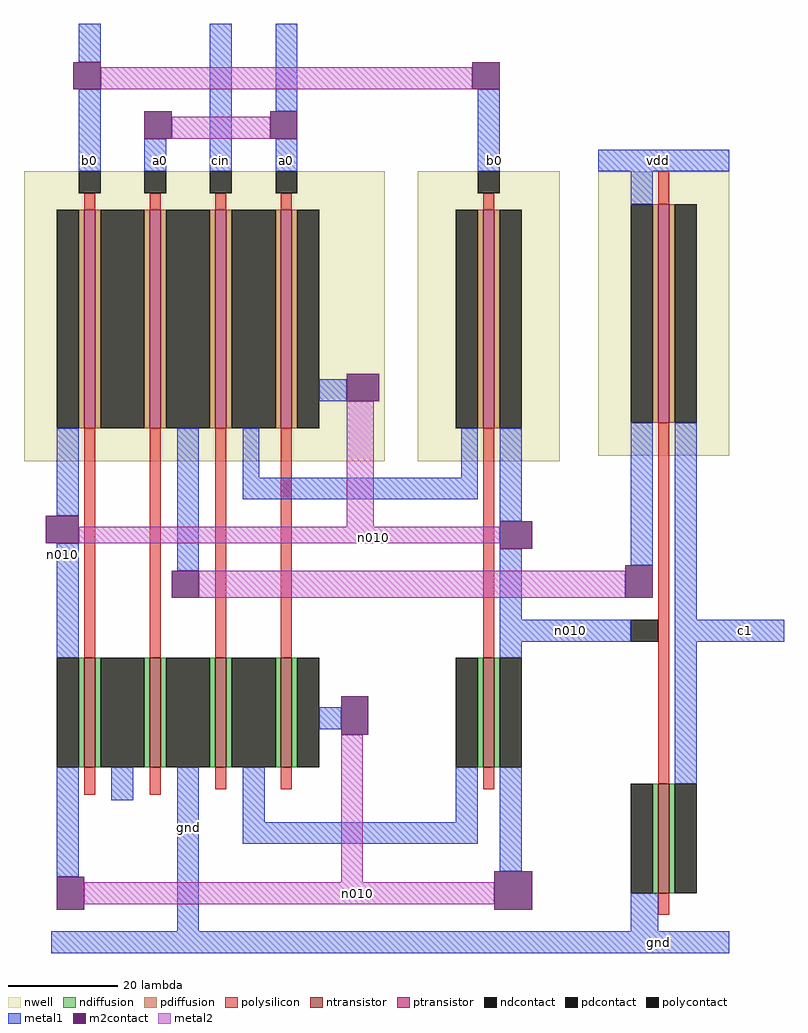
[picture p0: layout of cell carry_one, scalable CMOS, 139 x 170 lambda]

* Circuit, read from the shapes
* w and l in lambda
.subckt carry_one a0 b0 c1 cin gnd n010 vdd
M1 n1 b0 n010 VSUBS nfet w=20 l=2
M2 gnd a0 n1 VSUBS nfet w=20 l=2
M3 n2 cin gnd VSUBS nfet w=20 l=2
M4 n010 a0 n2 VSUBS nfet w=20 l=2
M5 n010 b0 n2 VSUBS nfet w=20 l=2
M6 c1 n010 gnd VSUBS nfet w=20 l=2
M7 n3 b0 n010 n4 pfet w=40 l=2
M8 vdd a0 n3 n4 pfet w=40 l=2
M9 n5 cin vdd n4 pfet w=40 l=2
M10 n010 a0 n5 n4 pfet w=40 l=2
M11 n010 b0 n5 n6 pfet w=40 l=2
M12 c1 n010 vdd n7 pfet w=40 l=2
.ends

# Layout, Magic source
magic
tech scmos
<< nwell >>
rect 0 -1 66 52
rect 72 -1 98 52
rect 105 0 129 52
<< ntransistor >>
rect 11 -57 13 -37
rect 23 -57 25 -37
rect 35 -57 37 -37
rect 47 -57 49 -37
rect 84 -57 86 -37
rect 116 -80 118 -60
<< ptransistor >>
rect 11 5 13 45
rect 23 5 25 45
rect 35 5 37 45
rect 47 5 49 45
rect 84 5 86 45
rect 116 6 118 46
<< ndiffusion >>
rect 10 -57 11 -37
rect 13 -57 14 -37
rect 22 -57 23 -37
rect 25 -57 26 -37
rect 34 -57 35 -37
rect 37 -57 38 -37
rect 46 -57 47 -37
rect 49 -57 50 -37
rect 83 -57 84 -37
rect 86 -57 87 -37
rect 115 -80 116 -60
rect 118 -80 119 -60
<< pdiffusion >>
rect 10 5 11 45
rect 13 5 14 45
rect 22 5 23 45
rect 25 5 26 45
rect 34 5 35 45
rect 37 5 38 45
rect 46 5 47 45
rect 49 5 50 45
rect 83 5 84 45
rect 86 5 87 45
rect 115 6 116 46
rect 118 6 119 46
<< ndcontact >>
rect 6 -57 10 -37
rect 14 -57 22 -37
rect 26 -57 34 -37
rect 38 -57 46 -37
rect 50 -57 54 -37
rect 79 -57 83 -37
rect 87 -57 91 -37
rect 111 -80 115 -60
rect 119 -80 123 -60
<< pdcontact >>
rect 6 5 10 45
rect 14 5 22 45
rect 26 5 34 45
rect 38 5 46 45
rect 50 5 54 45
rect 79 5 83 45
rect 87 5 91 45
rect 111 6 115 46
rect 119 6 123 46
<< polysilicon >>
rect 11 45 13 48
rect 23 45 25 48
rect 35 45 37 48
rect 47 45 49 48
rect 84 45 86 48
rect 116 46 118 52
rect 11 -37 13 5
rect 23 -37 25 5
rect 35 -37 37 5
rect 47 -37 49 5
rect 84 -37 86 5
rect 11 -62 13 -57
rect 23 -62 25 -57
rect 35 -61 37 -57
rect 47 -61 49 -57
rect 84 -61 86 -57
rect 116 -60 118 6
rect 116 -84 118 -80
<< polycontact >>
rect 10 48 14 52
rect 22 48 26 52
rect 34 48 38 52
rect 46 48 50 52
rect 83 48 87 52
rect 111 -34 116 -30
<< metal1 >>
rect 10 72 14 79
rect 10 52 14 67
rect 22 52 26 58
rect 34 52 38 79
rect 46 63 50 79
rect 46 52 50 58
rect 83 52 87 67
rect 105 52 129 56
rect 111 46 115 52
rect 54 10 59 14
rect 6 -11 10 5
rect 6 -37 10 -16
rect 28 -21 32 5
rect 40 -4 43 5
rect 80 -4 83 5
rect 40 -8 83 -4
rect 87 -12 91 5
rect 87 -30 91 -17
rect 111 -20 115 6
rect 119 -30 123 6
rect 87 -34 111 -30
rect 119 -34 139 -30
rect 87 -37 91 -34
rect 54 -50 58 -46
rect 6 -77 10 -57
rect 16 -63 20 -57
rect 28 -87 32 -57
rect 40 -67 44 -57
rect 79 -67 83 -57
rect 40 -71 83 -67
rect 87 -76 91 -57
rect 119 -60 123 -34
rect 111 -87 116 -80
rect 5 -91 129 -87
<< m2contact >>
rect 9 67 14 72
rect 22 58 27 63
rect 82 67 87 72
rect 45 58 50 63
rect 59 10 65 15
rect 4 -16 10 -11
rect 27 -26 32 -21
rect 87 -17 93 -12
rect 110 -26 115 -20
rect 58 -51 63 -44
rect 6 -83 11 -77
rect 86 -83 93 -76
<< metal2 >>
rect 14 67 82 71
rect 27 58 45 62
rect 59 -13 64 10
rect 10 -16 87 -13
rect 32 -26 110 -21
rect 58 -78 62 -51
rect 11 -82 86 -78
<< labels >>
rlabel metal1 12 54 12 54 1 b0
rlabel metal1 25 54 25 54 1 a0
rlabel metal1 36 54 36 54 1 cin
rlabel metal1 48 54 48 54 1 a0
rlabel metal1 86 54 86 54 1 b0
rlabel metal1 116 54 116 54 5 vdd
rlabel metal1 7 -18 7 -18 1 n010
rlabel metal2 64 -15 64 -15 1 n010
rlabel metal1 116 -89 116 -89 1 gnd
rlabel metal2 61 -80 61 -80 1 n010
rlabel metal1 100 -32 100 -32 1 n010
rlabel metal1 132 -32 132 -32 1 c1
rlabel metal1 30 -68 30 -68 1 gnd
<< end >>
